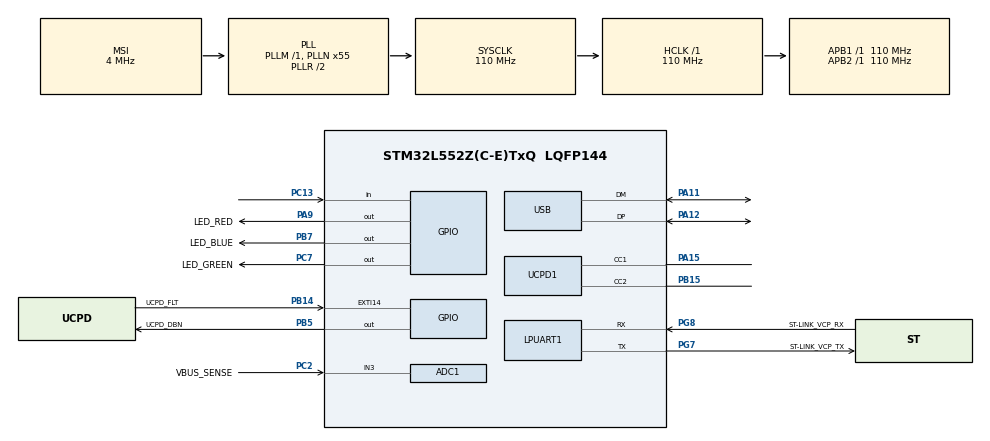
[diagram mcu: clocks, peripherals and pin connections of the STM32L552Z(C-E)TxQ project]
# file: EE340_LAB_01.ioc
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ADC1.Channel-0\#ChannelRegularConversion=ADC_CHANNEL_3
ADC1.NbrOfConversionFlag=1
ADC1.OffsetNumber-0\#ChannelRegularConversion=ADC_OFFSET_NONE
ADC1.Rank-0\#ChannelRegularConversion=1
ADC1.SamplingTime-0\#ChannelRegularConversion=ADC_SAMPLETIME_2CYCLES_5
ADC1.master=1
Mcu.Family=STM32L5
Mcu.Name=STM32L552Z(C-E)TxQ
Mcu.Package=LQFP144
Mcu.TrustZone=disable
NVIC.PriorityGroup=NVIC_PRIORITYGROUP_3
PA11.Mode=Device
PA11.Signal=USB_DM
PA12.Mode=Device
PA12.Signal=USB_DP
PA13\ (JTMS/SWDIO).Mode=Trace_Asynchronous_SW
PA13\ (JTMS/SWDIO).Signal=DEBUG_JTMS-SWDIO
PA14\ (JTCK/SWCLK).Mode=Trace_Asynchronous_SW
PA14\ (JTCK/SWCLK).Signal=DEBUG_JTCK-SWCLK
PA15\ (JTDI).Mode=Source_AllSignals
PA15\ (JTDI).Signal=UCPD1_CC1
PA9.GPIO_Label=LED_RED
PA9.Signal=GPIO_Output
PB14.GPIO_Label=UCPD_FLT
PB14.Signal=GPXTI14
PB15.Mode=Source_AllSignals
PB15.Signal=UCPD1_CC2
PB3\ (JTDO/TRACESWO).Mode=Trace_Asynchronous_SW
PB3\ (JTDO/TRACESWO).Signal=DEBUG_JTDO-SWO
PB5.GPIO_Label=UCPD_DBN
PB5.Signal=GPIO_Output
PB7.GPIO_Label=LED_BLUE
PB7.Signal=GPIO_Output
PC13.Signal=GPIO_Input
PC14-OSC32_IN\ (PC14).Mode=LSE-External-Oscillator
PC14-OSC32_IN\ (PC14).Signal=RCC_OSC32_IN
PC15-OSC32_OUT\ (PC15).Mode=LSE-External-Oscillator
PC15-OSC32_OUT\ (PC15).Signal=RCC_OSC32_OUT
PC2.GPIO_Label=VBUS_SENSE
PC2.Signal=ADCx_IN3
PC7.GPIO_Label=LED_GREEN
PC7.Signal=GPIO_Output
PG7.GPIO_Label=ST-LINK_VCP_TX
PG7.Mode=Asynchronous
PG7.Signal=LPUART1_TX
PG8.GPIO_Label=ST-LINK_VCP_RX
PG8.Mode=Asynchronous
PG8.Signal=LPUART1_RX
ProjectManager.HeapSize=0x200
ProjectManager.StackSize=0x400
ProjectManager.TargetToolchain=STM32CubeIDE
RCC.ADCCLockSelection=RCC_ADCCLKSOURCE_SYSCLK
RCC.ADCFreq_Value=110000000
RCC.AHBFreq_Value=110000000
RCC.APB1Freq_Value=110000000
RCC.APB1TimFreq_Value=110000000
RCC.APB2Freq_Value=110000000
RCC.APB2TimFreq_Value=110000000
RCC.CK48CLockSelection=RCC_USBCLKSOURCE_HSI48
RCC.CortexFreq_Value=110000000
RCC.HCLKFreq_Value=110000000
RCC.HSE_VALUE=8000000
RCC.HSI48_VALUE=48000000
RCC.HSI_VALUE=16000000
RCC.MSI_VALUE=4000000
RCC.PLLN=55
RCC.PLLSAI1N=24
RCC.RTCClockSelection=RCC_RTCCLKSOURCE_LSE
RCC.SYSCLKFreq_VALUE=110000000
RCC.SYSCLKSource=RCC_SYSCLKSOURCE_PLLCLK
RCC.USBFreq_Value=48000000
RCC.VCOOutputFreq_Value=220000000
SH.ADCx_IN3.0=ADC1_IN3,IN3-Single-Ended
VP_ICACHE_VS_ICACHE.Mode=DirectMappedCache
VP_PWR_VS_DBSignals.Mode=DisableDeadBatterySignals
VP_RTC_VS_RTC_Activate.Mode=RTC_Enabled
board=NUCLEO-L552ZE-Q

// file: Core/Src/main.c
/* USER CODE BEGIN Header */
/**
  ******************************************************************************
  * @file           : main.c
  * @brief          : Main program body
  ******************************************************************************
  * @attention
  *
  * Copyright (c) 2025 STMicroelectronics.
  * All rights reserved.
  *
  * This software is licensed under terms that can be found in the LICENSE file
  * in the root directory of this software component.
  * If no LICENSE file comes with this software, it is provided AS-IS.
  *
  ******************************************************************************
  */
/* USER CODE END Header */
#include "main.h"

/* USER CODE BEGIN PM */

// LAB MACRO
#define LAB_TEST 1			// LAB_TEST is the macro that controls what part of the lab is run for easy switching 1 = part1, 2 = part2

/* USER CODE END PM */

ADC_HandleTypeDef hadc1;

UART_HandleTypeDef hlpuart1;

RTC_HandleTypeDef hrtc;

PCD_HandleTypeDef hpcd_USB_FS;

void SystemClock_Config(void);
static void MX_GPIO_Init(void);
static void MX_ADC1_Init(void);
static void MX_ICACHE_Init(void);
static void MX_LPUART1_UART_Init(void);
static void MX_RTC_Init(void);
static void MX_UCPD1_Init(void);
static void MX_USB_PCD_Init(void);
/* USER CODE BEGIN PFP */

// Function Prototypes
uint8_t VerifyButtonPress(GPIO_TypeDef* PORT, uint16_t PIN, uint8_t positive_polls, uint8_t total_polls);

/* USER CODE END PFP */

int main(void)
{

  /* MCU Configuration--------------------------------------------------------*/

  /* Reset of all peripherals, Initializes the Flash interface and the Systick. */
  HAL_Init();

  /* Configure the system clock */
  SystemClock_Config();

  /* Initialize all configured peripherals */
  MX_GPIO_Init();
  MX_ADC1_Init();
  MX_ICACHE_Init();
  MX_LPUART1_UART_Init();
  MX_RTC_Init();
  MX_UCPD1_Init();
  MX_USB_PCD_Init();

  /* Infinite loop */
  /* USER CODE BEGIN WHILE */
  while (1)
  {
	  // Part 1
	  if (LAB_TEST == 1)
	  {
		  // Start LED Blink
		  HAL_Delay(1000); 									// Delay time in ms T = 2s = 1/T = 0.5 Hz
		  HAL_GPIO_TogglePin(GPIOC, GPIO_PIN_7);	        // Toggle Pin on and off

	  }

	  // Part 2
	  if (LAB_TEST == 2)
	  {
		  // Check for button press
		  if (HAL_GPIO_ReadPin(GPIOC, GPIO_PIN_13))
			  if (VerifyButtonPress(GPIOC, GPIO_PIN_13, 8, 10))
					  HAL_GPIO_TogglePin(GPIOC, GPIO_PIN_7);
	  }

    /* USER CODE END WHILE */

  }
}

void SystemClock_Config(void)
{
  RCC_OscInitTypeDef RCC_OscInitStruct = {0};
  RCC_ClkInitTypeDef RCC_ClkInitStruct = {0};

  /** Configure the main internal regulator output voltage
  */
  if (HAL_PWREx_ControlVoltageScaling(PWR_REGULATOR_VOLTAGE_SCALE0) != HAL_OK)
  {
    Error_Handler();
  }

  /** Configure LSE Drive Capability
  */
  HAL_PWR_EnableBkUpAccess();
  __HAL_RCC_LSEDRIVE_CONFIG(RCC_LSEDRIVE_LOW);

  /** Initializes the RCC Oscillators according to the specified parameters
  * in the RCC_OscInitTypeDef structure.
  */
  RCC_OscInitStruct.OscillatorType = RCC_OSCILLATORTYPE_HSI48|RCC_OSCILLATORTYPE_LSE
                              |RCC_OSCILLATORTYPE_MSI;
  RCC_OscInitStruct.LSEState = RCC_LSE_ON;
  RCC_OscInitStruct.HSI48State = RCC_HSI48_ON;
  RCC_OscInitStruct.MSIState = RCC_MSI_ON;
  RCC_OscInitStruct.MSICalibrationValue = RCC_MSICALIBRATION_DEFAULT;
  RCC_OscInitStruct.MSIClockRange = RCC_MSIRANGE_6;
  RCC_OscInitStruct.PLL.PLLState = RCC_PLL_ON;
  RCC_OscInitStruct.PLL.PLLSource = RCC_PLLSOURCE_MSI;
  RCC_OscInitStruct.PLL.PLLM = 1;
  RCC_OscInitStruct.PLL.PLLN = 55;
  RCC_OscInitStruct.PLL.PLLP = RCC_PLLP_DIV7;
  RCC_OscInitStruct.PLL.PLLQ = RCC_PLLQ_DIV2;
  RCC_OscInitStruct.PLL.PLLR = RCC_PLLR_DIV2;
  if (HAL_RCC_OscConfig(&RCC_OscInitStruct) != HAL_OK)
  {
    Error_Handler();
  }

  /** Initializes the CPU, AHB and APB buses clocks
  */
  RCC_ClkInitStruct.ClockType = RCC_CLOCKTYPE_HCLK|RCC_CLOCKTYPE_SYSCLK
                              |RCC_CLOCKTYPE_PCLK1|RCC_CLOCKTYPE_PCLK2;
  RCC_ClkInitStruct.SYSCLKSource = RCC_SYSCLKSOURCE_PLLCLK;
  RCC_ClkInitStruct.AHBCLKDivider = RCC_SYSCLK_DIV1;
  RCC_ClkInitStruct.APB1CLKDivider = RCC_HCLK_DIV1;
  RCC_ClkInitStruct.APB2CLKDivider = RCC_HCLK_DIV1;

  if (HAL_RCC_ClockConfig(&RCC_ClkInitStruct, FLASH_LATENCY_5) != HAL_OK)
  {
    Error_Handler();
  }
}

static void MX_ADC1_Init(void)
{

  ADC_MultiModeTypeDef multimode = {0};
  ADC_ChannelConfTypeDef sConfig = {0};

  /** Common config
  */
  hadc1.Instance = ADC1;
  hadc1.Init.ClockPrescaler = ADC_CLOCK_ASYNC_DIV1;
  hadc1.Init.Resolution = ADC_RESOLUTION_12B;
  hadc1.Init.DataAlign = ADC_DATAALIGN_RIGHT;
  hadc1.Init.ScanConvMode = ADC_SCAN_DISABLE;
  hadc1.Init.EOCSelection = ADC_EOC_SINGLE_CONV;
  hadc1.Init.LowPowerAutoWait = DISABLE;
  hadc1.Init.ContinuousConvMode = DISABLE;
  hadc1.Init.NbrOfConversion = 1;
  hadc1.Init.DiscontinuousConvMode = DISABLE;
  hadc1.Init.ExternalTrigConv = ADC_SOFTWARE_START;
  hadc1.Init.ExternalTrigConvEdge = ADC_EXTERNALTRIGCONVEDGE_NONE;
  hadc1.Init.DMAContinuousRequests = DISABLE;
  hadc1.Init.Overrun = ADC_OVR_DATA_PRESERVED;
  hadc1.Init.OversamplingMode = DISABLE;
  if (HAL_ADC_Init(&hadc1) != HAL_OK)
  {
    Error_Handler();
  }

  /** Configure the ADC multi-mode
  */
  multimode.Mode = ADC_MODE_INDEPENDENT;
  if (HAL_ADCEx_MultiModeConfigChannel(&hadc1, &multimode) != HAL_OK)
  {
    Error_Handler();
  }

  /** Configure Regular Channel
  */
  sConfig.Channel = ADC_CHANNEL_3;
  sConfig.Rank = ADC_REGULAR_RANK_1;
  sConfig.SamplingTime = ADC_SAMPLETIME_2CYCLES_5;
  sConfig.SingleDiff = ADC_SINGLE_ENDED;
  sConfig.OffsetNumber = ADC_OFFSET_NONE;
  sConfig.Offset = 0;
  if (HAL_ADC_ConfigChannel(&hadc1, &sConfig) != HAL_OK)
  {
    Error_Handler();
  }

}

static void MX_ICACHE_Init(void)
{

  /** Enable instruction cache in 1-way (direct mapped cache)
  */
  if (HAL_ICACHE_ConfigAssociativityMode(ICACHE_1WAY) != HAL_OK)
  {
    Error_Handler();
  }
  if (HAL_ICACHE_Enable() != HAL_OK)
  {
    Error_Handler();
  }

}

static void MX_LPUART1_UART_Init(void)
{

  hlpuart1.Instance = LPUART1;
  hlpuart1.Init.BaudRate = 209700;
  hlpuart1.Init.WordLength = UART_WORDLENGTH_8B;
  hlpuart1.Init.StopBits = UART_STOPBITS_1;
  hlpuart1.Init.Parity = UART_PARITY_NONE;
  hlpuart1.Init.Mode = UART_MODE_TX_RX;
  hlpuart1.Init.HwFlowCtl = UART_HWCONTROL_NONE;
  hlpuart1.Init.OneBitSampling = UART_ONE_BIT_SAMPLE_DISABLE;
  hlpuart1.Init.ClockPrescaler = UART_PRESCALER_DIV1;
  hlpuart1.AdvancedInit.AdvFeatureInit = UART_ADVFEATURE_NO_INIT;
  hlpuart1.FifoMode = UART_FIFOMODE_DISABLE;
  if (HAL_UART_Init(&hlpuart1) != HAL_OK)
  {
    Error_Handler();
  }
  if (HAL_UARTEx_SetTxFifoThreshold(&hlpuart1, UART_TXFIFO_THRESHOLD_1_8) != HAL_OK)
  {
    Error_Handler();
  }
  if (HAL_UARTEx_SetRxFifoThreshold(&hlpuart1, UART_RXFIFO_THRESHOLD_1_8) != HAL_OK)
  {
    Error_Handler();
  }
  if (HAL_UARTEx_DisableFifoMode(&hlpuart1) != HAL_OK)
  {
    Error_Handler();
  }

}

static void MX_RTC_Init(void)
{

  RTC_PrivilegeStateTypeDef privilegeState = {0};

  /** Initialize RTC Only
  */
  hrtc.Instance = RTC;
  hrtc.Init.HourFormat = RTC_HOURFORMAT_24;
  hrtc.Init.AsynchPrediv = 127;
  hrtc.Init.SynchPrediv = 255;
  hrtc.Init.OutPut = RTC_OUTPUT_DISABLE;
  hrtc.Init.OutPutRemap = RTC_OUTPUT_REMAP_NONE;
  hrtc.Init.OutPutPolarity = RTC_OUTPUT_POLARITY_HIGH;
  hrtc.Init.OutPutType = RTC_OUTPUT_TYPE_OPENDRAIN;
  hrtc.Init.OutPutPullUp = RTC_OUTPUT_PULLUP_NONE;
  if (HAL_RTC_Init(&hrtc) != HAL_OK)
  {
    Error_Handler();
  }
  privilegeState.rtcPrivilegeFull = RTC_PRIVILEGE_FULL_NO;
  privilegeState.backupRegisterPrivZone = RTC_PRIVILEGE_BKUP_ZONE_NONE;
  privilegeState.backupRegisterStartZone2 = RTC_BKP_DR0;
  privilegeState.backupRegisterStartZone3 = RTC_BKP_DR0;
  if (HAL_RTCEx_PrivilegeModeSet(&hrtc, &privilegeState) != HAL_OK)
  {
    Error_Handler();
  }

}

static void MX_UCPD1_Init(void)
{

  LL_GPIO_InitTypeDef GPIO_InitStruct = {0};

  /* Peripheral clock enable */
  LL_APB1_GRP2_EnableClock(LL_APB1_GRP2_PERIPH_UCPD1);

  LL_AHB2_GRP1_EnableClock(LL_AHB2_GRP1_PERIPH_GPIOB);
  LL_AHB2_GRP1_EnableClock(LL_AHB2_GRP1_PERIPH_GPIOA);
  /**UCPD1 GPIO Configuration
  PB15   ------> UCPD1_CC2
  PA15 (JTDI)   ------> UCPD1_CC1
  */
  GPIO_InitStruct.Pin = LL_GPIO_PIN_15;
  GPIO_InitStruct.Mode = LL_GPIO_MODE_ANALOG;
  GPIO_InitStruct.Pull = LL_GPIO_PULL_NO;
  LL_GPIO_Init(GPIOB, &GPIO_InitStruct);

  GPIO_InitStruct.Pin = LL_GPIO_PIN_15;
  GPIO_InitStruct.Mode = LL_GPIO_MODE_ANALOG;
  GPIO_InitStruct.Pull = LL_GPIO_PULL_NO;
  LL_GPIO_Init(GPIOA, &GPIO_InitStruct);

}

static void MX_USB_PCD_Init(void)
{

  hpcd_USB_FS.Instance = USB;
  hpcd_USB_FS.Init.dev_endpoints = 8;
  hpcd_USB_FS.Init.speed = PCD_SPEED_FULL;
  hpcd_USB_FS.Init.phy_itface = PCD_PHY_EMBEDDED;
  hpcd_USB_FS.Init.Sof_enable = DISABLE;
  hpcd_USB_FS.Init.low_power_enable = DISABLE;
  hpcd_USB_FS.Init.lpm_enable = DISABLE;
  hpcd_USB_FS.Init.battery_charging_enable = DISABLE;
  if (HAL_PCD_Init(&hpcd_USB_FS) != HAL_OK)
  {
    Error_Handler();
  }

}

static void MX_GPIO_Init(void)
{
  GPIO_InitTypeDef GPIO_InitStruct = {0};

  /* GPIO Ports Clock Enable */
  __HAL_RCC_GPIOC_CLK_ENABLE();
  __HAL_RCC_GPIOB_CLK_ENABLE();
  __HAL_RCC_GPIOG_CLK_ENABLE();
  HAL_PWREx_EnableVddIO2();
  __HAL_RCC_GPIOA_CLK_ENABLE();

  /*Configure GPIO pin Output Level */
  HAL_GPIO_WritePin(LED_GREEN_GPIO_Port, LED_GREEN_Pin, GPIO_PIN_RESET);

  /*Configure GPIO pin Output Level */
  HAL_GPIO_WritePin(LED_RED_GPIO_Port, LED_RED_Pin, GPIO_PIN_RESET);

  /*Configure GPIO pin Output Level */
  HAL_GPIO_WritePin(GPIOB, UCPD_DBN_Pin|LED_BLUE_Pin, GPIO_PIN_RESET);

  /*Configure GPIO pin : PC13 */
  GPIO_InitStruct.Pin = GPIO_PIN_13;
  GPIO_InitStruct.Mode = GPIO_MODE_INPUT;
  GPIO_InitStruct.Pull = GPIO_NOPULL;
  HAL_GPIO_Init(GPIOC, &GPIO_InitStruct);

  /*Configure GPIO pin : UCPD_FLT_Pin */
  GPIO_InitStruct.Pin = UCPD_FLT_Pin;
  GPIO_InitStruct.Mode = GPIO_MODE_IT_RISING;
  GPIO_InitStruct.Pull = GPIO_NOPULL;
  HAL_GPIO_Init(UCPD_FLT_GPIO_Port, &GPIO_InitStruct);

  /*Configure GPIO pin : LED_GREEN_Pin */
  GPIO_InitStruct.Pin = LED_GREEN_Pin;
  GPIO_InitStruct.Mode = GPIO_MODE_OUTPUT_PP;
  GPIO_InitStruct.Pull = GPIO_NOPULL;
  GPIO_InitStruct.Speed = GPIO_SPEED_FREQ_LOW;
  HAL_GPIO_Init(LED_GREEN_GPIO_Port, &GPIO_InitStruct);

  /*Configure GPIO pin : LED_RED_Pin */
  GPIO_InitStruct.Pin = LED_RED_Pin;
  GPIO_InitStruct.Mode = GPIO_MODE_OUTPUT_PP;
  GPIO_InitStruct.Pull = GPIO_NOPULL;
  GPIO_InitStruct.Speed = GPIO_SPEED_FREQ_LOW;
  HAL_GPIO_Init(LED_RED_GPIO_Port, &GPIO_InitStruct);

  /*Configure GPIO pins : UCPD_DBN_Pin LED_BLUE_Pin */
  GPIO_InitStruct.Pin = UCPD_DBN_Pin|LED_BLUE_Pin;
  GPIO_InitStruct.Mode = GPIO_MODE_OUTPUT_PP;
  GPIO_InitStruct.Pull = GPIO_NOPULL;
  GPIO_InitStruct.Speed = GPIO_SPEED_FREQ_LOW;
  HAL_GPIO_Init(GPIOB, &GPIO_InitStruct);

}

/* USER CODE BEGIN 4 */

/*
   * Function Prototype 					uint8_t VerifyButtonPress(GPIO_TypeDef* PORT, uint16_t PIN, uint8_t positive_polls, uint8_t total_polls);
   *
   * Description:							This function will poll the user defined pin which the button is connected to on the MCU.
   * 											If the input pin is high for at least positive_polls then the function will return a positive value.
   * 											The function will poll the user defined pin total_polls and accumulate the amount logic high reads
   * 											then the function will test this against the number the user entered as the check value.
   *
   * Inputs:								GPIO_TypeDef* PORT : 		GPIO struct representing the port the input is connected to.
   * 										uint16_t PIN : GPIO pin 	GPIO pin the input is connected to.
   * 										uint8_t positive_polls : 	Number of times the input must be logic high during operation to get a
   * 																		positive output.
   * 										uint8_t total_polls : 		Number of times the function will poll input pin during operation.
   *
   * Outputs:								uint8_t : 1 and 0 representing the button is on and the button is off respectively.
   *
   * Side Effects:							Function holds processor with waiting timer until the function has polled the button "times"
   *
   * Example Usage:							// Check for button press
   *										  	if (HAL_GPIO_ReadPin(GPIOB, GPIO_PIN_7))
   *												if (VerifyButtonPress(GPIOC, GPIO_PIN_7, 8, 10))
   *													HAL_GPIO_TogglePin(GPIOC, GPIO_PIN_7);
*/
uint8_t VerifyButtonPress(GPIO_TypeDef* PORT, uint16_t PIN, uint8_t positive_polls, uint8_t total_polls)
{
	// Verify user did not enter more successes than the total polls
	if (positive_polls > total_polls)
		return 0;	// Error

	// Poll user pin
	uint8_t positive_reads = 0;
	for (uint8_t i = 0; i < total_polls; i++)
	{
		if (HAL_GPIO_ReadPin(PORT, PIN))
			positive_reads++;
		HAL_Delay(20);		// 20ms delay | Total Function time = (total_polls * 20ms)
	}

	// Check if number of successful reads is greater than or equal to the number required to be successful
	return (positive_reads >= positive_polls);

}

/* USER CODE END 4 */

void Error_Handler(void)
{
  __disable_irq();
  while (1)
  {
  }
}
